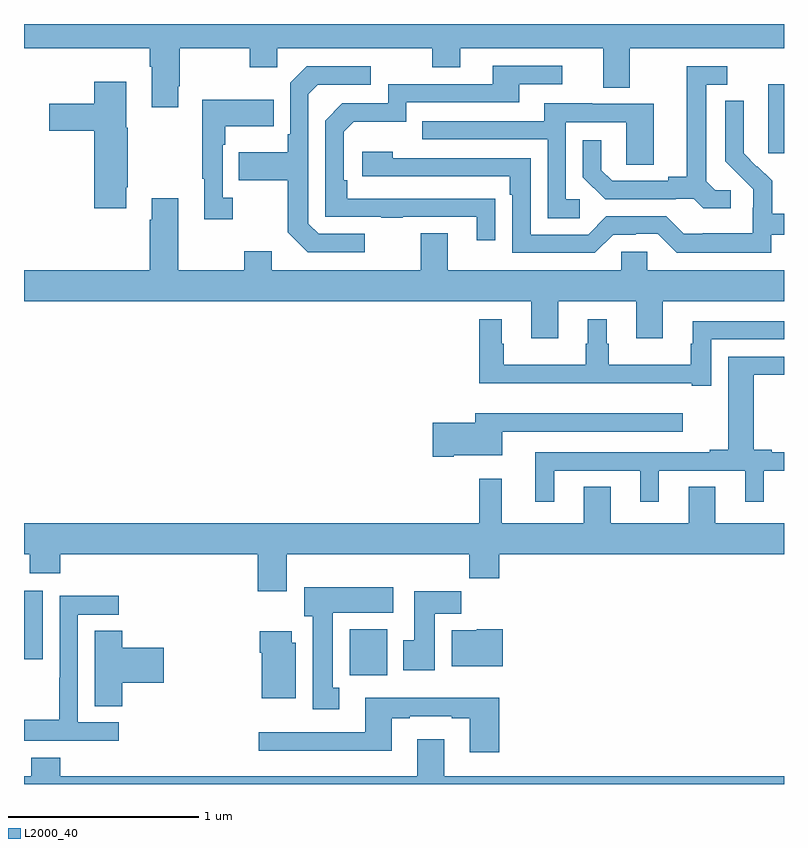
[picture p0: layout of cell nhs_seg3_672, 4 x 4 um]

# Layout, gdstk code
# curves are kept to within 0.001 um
import gdstk
lib = gdstk.Library(unit=1e-6, precision=1e-09)
def R(c, l, rs):  # rectangles x0, y0, x1, y1
    for r in rs: c.add(gdstk.rectangle(r[:2], r[2:], *l))
def P(c, l, *ps):  # polygons
    for p in ps: c.add(gdstk.Polygon(p, *l))
L2000_40 = (2000, 40)

nhs_seg3_672 = lib.new_cell('nhs_seg3_672')
R(nhs_seg3_672, L2000_40, [(146.714,674.972,146.911,675.214), (145,675.057,145.099,675.418), (148.916,677.721,149,678.082)])
P(nhs_seg3_672, L2000_40, [(145.813,678.073),(145.821,678.073),(145.821,678.272),(146.188,678.272),(146.188,678.173),(146.334,678.173),(146.334,678.272),(147.148,678.272),(147.148,678.173),(147.295,678.173),(147.295,678.272),(148.049,678.272),(148.049,678.064),(148.189,678.064),(148.189,678.272),(149,678.272),(149,678.4),(145,678.4),(145,678.272),(145.661,678.272),(145.661,678.176),(145.673,678.176),(145.673,677.961),(145.813,677.961)],
  [(147.479,677.48),(146.702,677.481),(146.702,677.578),(146.682,677.578),(146.682,677.832),(146.735,677.885),(147.012,677.885),(147.012,677.988),(147.607,677.988),(147.607,678.084),(147.832,678.084),(147.832,678.18),(147.467,678.18),(147.467,678.084),(146.916,678.084),(146.916,677.982),(146.676,677.982),(146.586,677.892),(146.586,677.385),(146.881,677.385),(146.881,677.38),(146.993,677.38),(146.993,677.385),(147.383,677.385),(147.383,677.262),(147.479,677.262)],
  [(146.794,677.295),(146.55,677.295),(146.496,677.349),(146.496,678.03),(146.547,678.081),(146.824,678.081),(146.824,678.177),(146.487,678.177),(146.4,678.09),(146.4,677.821),(146.388,677.821),(146.388,677.725),(146.131,677.725),(146.131,677.578),(146.388,677.578),(146.388,677.305),(146.493,677.199),(146.794,677.199)],
  [(148.72,677.526),(148.638,677.526),(148.591,677.573),(148.591,678.081),(148.702,678.081),(148.702,678.177),(148.487,678.177),(148.487,677.597),(148.391,677.597),(148.391,677.574),(148.096,677.574),(148.039,677.631),(148.039,677.788),(147.942,677.788),(147.942,677.594),(148.058,677.478),(148.43,677.478),(148.43,677.481),(148.524,677.481),(148.576,677.429),(148.72,677.429)],
  [(145.537,677.542),(145.545,677.542),(145.545,677.853),(145.537,677.853),(145.537,678.097),(145.37,678.097),(145.37,677.979),(145.134,677.979),(145.134,677.837),(145.37,677.837),(145.37,677.43),(145.537,677.43)],
  [(146.098,677.486),(146.046,677.486),(146.046,677.765),(146.059,677.765),(146.059,677.861),(146.315,677.861),(146.315,678.001),(145.938,678.001),(145.938,677.585),(145.949,677.585),(145.949,677.373),(146.098,677.373)],
  [(148.932,677.292),(149,677.292),(149,677.401),(148.937,677.401),(148.937,677.575),(148.86,677.652),(148.857,677.649),(148.787,677.72),(148.788,677.996),(148.692,677.996),(148.692,677.678),(148.838,677.53),(148.838,677.433),(148.836,677.433),(148.836,677.299),(148.573,677.299),(148.573,677.295),(148.473,677.295),(148.38,677.388),(148.065,677.388),(147.969,677.292),(147.666,677.292),(147.666,677.694),(146.942,677.694),(146.942,677.728),(146.781,677.728),(146.781,677.598),(147.557,677.598),(147.557,677.501),(147.57,677.501),(147.57,677.196),(148.005,677.196),(148.101,677.292),(148.22,677.292),(148.22,677.295),(148.335,677.295),(148.435,677.195),(148.932,677.195)],
  [(147.925,677.478),(147.852,677.478),(147.852,677.883),(148.17,677.883),(148.17,677.659),(148.315,677.659),(148.315,677.979),(147.991,677.979),(147.991,677.983),(147.737,677.983),(147.737,677.889),(147.097,677.889),(147.097,677.793),(147.756,677.793),(147.756,677.377),(147.925,677.377)],
  [(147.811,676.94),(148.223,676.94),(148.223,676.746),(148.363,676.746),(148.363,676.94),(149,676.94),(149,677.104),(148.281,677.104),(148.281,677.202),(148.143,677.202),(148.143,677.104),(147.229,677.104),(147.229,677.299),(147.089,677.299),(147.089,677.104),(146.305,677.104),(146.305,677.203),(146.158,677.203),(146.158,677.104),(145.813,677.104),(145.813,677.482),(145.673,677.482),(145.673,677.369),(145.661,677.369),(145.661,677.104),(145,677.104),(145,676.94),(147.671,676.94),(147.671,676.746),(147.811,676.746)],
  [(148.617,676.74),(149,676.74),(149,676.836),(148.52,676.836),(148.52,676.718),(148.509,676.718),(148.509,676.606),(148.078,676.606),(148.078,676.718),(148.066,676.718),(148.066,676.846),(147.968,676.846),(147.968,676.718),(147.957,676.718),(147.957,676.606),(147.526,676.606),(147.526,676.718),(147.514,676.718),(147.514,676.846),(147.397,676.846),(147.397,676.508),(148.514,676.508),(148.514,676.497),(148.617,676.497)],
  [(147.79,676.05),(148.244,676.05),(148.244,675.885),(148.342,675.885),(148.342,676.05),(148.796,676.05),(148.796,675.885),(148.894,675.885),(148.894,676.05),(149,676.05),(149,676.146),(148.936,676.146),(148.936,676.159),(148.84,676.159),(148.84,676.553),(149,676.553),(149,676.65),(148.706,676.65),(148.706,676.159),(148.61,676.159),(148.61,676.146),(147.692,676.146),(147.692,675.885),(147.79,675.885)],
  [(147.262,676.13),(147.517,676.13),(147.517,676.254),(148.468,676.254),(148.468,676.351),(147.374,676.351),(147.374,676.301),(147.15,676.301),(147.15,676.123),(147.262,676.123)],
  [(146.383,675.608),(147.343,675.608),(147.343,675.484),(147.5,675.484),(147.5,675.608),(149,675.608),(149,675.772),(148.639,675.772),(148.639,675.965),(148.499,675.965),(148.499,675.772),(148.087,675.772),(148.087,675.965),(147.947,675.965),(147.947,675.772),(147.515,675.772),(147.515,676.006),(147.397,676.006),(147.397,675.772),(145,675.772),(145,675.608),(145.03,675.608),(145.03,675.509),(145.19,675.509),(145.19,675.608),(146.231,675.608),(146.231,675.414),(146.383,675.414)],
  [(146.659,674.906),(146.626,674.906),(146.626,675.302),(146.944,675.302),(146.944,675.436),(146.474,675.436),(146.474,675.282),(146.519,675.282),(146.519,674.793),(146.659,674.793)],
  [(147.163,675.296),(147.302,675.296),(147.302,675.415),(147.053,675.415),(147.053,675.156),(146.996,675.156),(146.996,675),(147.163,675)],
  [(145.498,674.724),(145.284,674.724),(145.284,675.291),(145.498,675.291),(145.498,675.39),(145.188,675.39),(145.188,674.96),(145.186,674.96),(145.186,674.737),(145,674.737),(145,674.628),(145.498,674.628)],
  [(147.52,675.214),(147.384,675.214),(147.384,675.208),(147.251,675.208),(147.251,675.02),(147.52,675.02)],
  [(145.517,674.933),(145.735,674.933),(145.735,675.116),(145.517,675.116),(145.517,675.206),(145.373,675.206),(145.373,674.809),(145.517,674.809)],
  [(146.431,675.144),(146.41,675.144),(146.41,675.205),(146.24,675.205),(146.24,675.092),(146.252,675.092),(146.252,674.852),(146.431,674.852)],
  [(147.5,674.854),(146.795,674.854),(146.795,674.673),(146.235,674.673),(146.235,674.576),(146.935,674.576),(146.935,674.745),(147.031,674.745),(147.031,674.757),(147.251,674.757),(147.251,674.745),(147.347,674.745),(147.347,674.568),(147.5,674.568)],
  [(149,674.44),(147.211,674.44),(147.211,674.635),(147.071,674.635),(147.071,674.44),(145.19,674.44),(145.19,674.539),(145.037,674.539),(145.037,674.44),(145,674.44),(145,674.4),(149,674.4)])

lib.write_gds('nhs_seg3_672.gds')
